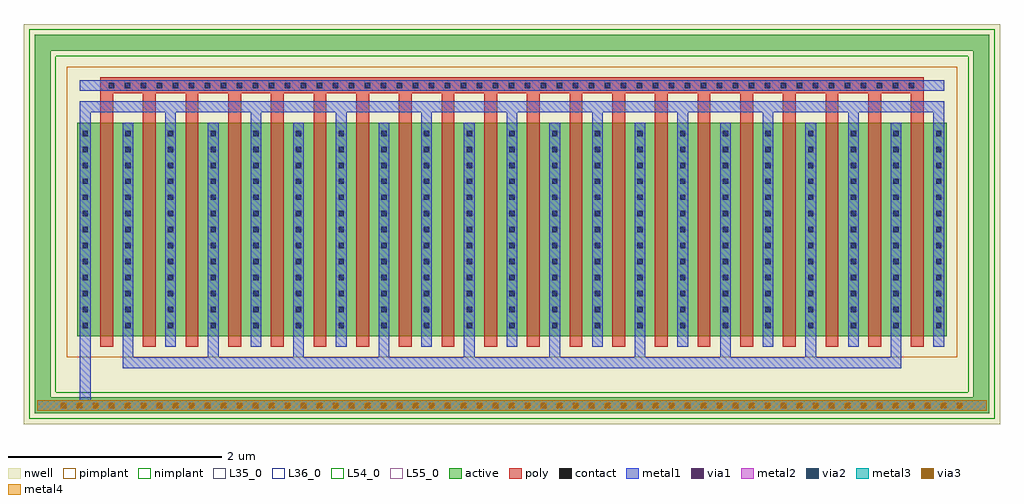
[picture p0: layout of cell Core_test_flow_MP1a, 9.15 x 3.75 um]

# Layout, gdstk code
import gdstk
lib = gdstk.Library(unit=1e-6, precision=1e-09)
def R(c, l, rs):  # rectangles x0, y0, x1, y1
    for r in rs: c.add(gdstk.rectangle(r[:2], r[2:], *l))
def A(c, l, x, y, w, h, nx, ny, dx, dy):  # array of equal rectangles
    R(c, l, [(x+i*dx, y+j*dy, x+i*dx+w, y+j*dy+h) for i in range(nx) for j in range(ny)])
nwell = (3, 0)
active = (6, 0)
poly = (17, 0)
pimplant = (25, 0)
nimplant = (26, 0)
contact = (30, 0)
metal1 = (31, 0)
metal2 = (32, 0)
metal3 = (33, 0)
metal4 = (34, 0)
L35_0 = (35, 0)
L36_0 = (36, 0)
via1 = (51, 0)
via2 = (52, 0)
via3 = (53, 0)
L54_0 = (54, 0)
L55_0 = (55, 0)

core_test_flow_mp1a = lib.new_cell('Core_test_flow_MP1a')
R(core_test_flow_mp1a, nwell, [(-0.575,-0.775,8.575,2.975), (-0.125,-0.1,8.125,2.2)])
R(core_test_flow_mp1a, active, [(-0.475,-0.675,-0.325,-0.525), (-0.325,-0.675,8.325,-0.525), (8.325,-0.675,8.475,-0.525), (-0.475,-0.525,-0.325,2.725), (8.325,-0.525,8.475,2.725), (-0.075,0.05,8.075,2.05), (-0.475,2.725,-0.325,2.875), (-0.325,2.725,8.325,2.875), (8.325,2.725,8.475,2.875)])
A(core_test_flow_mp1a, poly, 0.14, -0.05, 0.12, 2.2, 20, 1, 0.4, 0)
A(core_test_flow_mp1a, poly, 0.14, 2.05, 0.12, 0.3, 20, 1, 0.4, 0)
R(core_test_flow_mp1a, poly, [(0.14,2.325,7.86,2.475)])
R(core_test_flow_mp1a, pimplant, [(-0.175,-0.15,8.175,2.575)])
R(core_test_flow_mp1a, nimplant, [(-0.525,-0.725,-0.275,-0.475), (-0.325,-0.725,8.325,-0.475), (8.275,-0.725,8.525,-0.475), (-0.525,-0.525,-0.275,2.725), (8.275,-0.525,8.525,2.725), (-0.525,2.675,-0.275,2.925), (-0.325,2.675,8.325,2.925), (8.275,2.675,8.525,2.925)])
A(core_test_flow_mp1a, contact, -0.23, -0.625, 0.05, 0.05, 57, 1, 0.15, 0)
A(core_test_flow_mp1a, contact, -0.025, 0.125, 0.05, 0.05, 21, 13, 0.4, 0.15)
A(core_test_flow_mp1a, contact, 0.22, 2.375, 0.05, 0.05, 51, 1, 0.15, 0)
A(core_test_flow_mp1a, metal1, 0.35, -0.15, 0.1, 0.1, 10, 1, 0.8, 0)
A(core_test_flow_mp1a, metal1, -0.05, -0.05, 0.1, 2.1, 21, 1, 0.4, 0)
A(core_test_flow_mp1a, metal1, -0.05, 0.05, 0.1, 2, 21, 1, 0.4, 0)
A(core_test_flow_mp1a, metal1, -0.05, 2.05, 0.1, 0.1, 11, 1, 0.8, 0)
R(core_test_flow_mp1a, metal1, [(-0.45,-0.65,-0.35,-0.55), (-0.35,-0.65,-0.325,-0.55), (-0.325,-0.65,8.325,-0.55), (-0.05,-0.65,0.05,2.15), (8.325,-0.65,8.35,-0.55), (8.35,-0.65,8.45,-0.55), (0.35,-0.25,7.65,-0.15), (-0.05,2.15,8.05,2.25), (-0.05,2.35,8.05,2.45), (0.14,2.35,7.86,2.45)])
R(core_test_flow_mp1a, metal2, [(-0.45,-0.65,-0.35,-0.55), (-0.35,-0.65,-0.325,-0.55), (-0.325,-0.65,8.325,-0.55), (8.325,-0.65,8.35,-0.55), (8.35,-0.65,8.45,-0.55)])
R(core_test_flow_mp1a, metal3, [(-0.45,-0.65,-0.35,-0.55), (-0.35,-0.65,-0.325,-0.55), (-0.325,-0.65,8.325,-0.55), (8.325,-0.65,8.35,-0.55), (8.35,-0.65,8.45,-0.55)])
R(core_test_flow_mp1a, metal4, [(-0.45,-0.65,-0.35,-0.55), (-0.35,-0.65,-0.325,-0.55), (-0.325,-0.65,8.325,-0.55), (8.325,-0.65,8.35,-0.55), (8.35,-0.65,8.45,-0.55)])
R(core_test_flow_mp1a, L35_0, [(-0.45,-0.65,-0.35,-0.55), (-0.35,-0.65,-0.325,-0.55), (-0.325,-0.65,8.325,-0.55), (8.325,-0.65,8.35,-0.55), (8.35,-0.65,8.45,-0.55)])
R(core_test_flow_mp1a, L36_0, [(-0.45,-0.65,-0.35,-0.55), (-0.35,-0.65,-0.325,-0.55), (-0.325,-0.65,8.325,-0.55), (8.325,-0.65,8.35,-0.55), (8.35,-0.65,8.45,-0.55)])
A(core_test_flow_mp1a, via1, -0.23, -0.625, 0.05, 0.05, 57, 1, 0.15, 0)
A(core_test_flow_mp1a, via2, -0.23, -0.625, 0.05, 0.05, 57, 1, 0.15, 0)
A(core_test_flow_mp1a, via3, -0.23, -0.625, 0.05, 0.05, 57, 1, 0.15, 0)
A(core_test_flow_mp1a, L54_0, -0.23, -0.625, 0.05, 0.05, 57, 1, 0.15, 0)
A(core_test_flow_mp1a, L55_0, -0.23, -0.625, 0.05, 0.05, 57, 1, 0.15, 0)

lib.write_gds('Core_test_flow_MP1a.gds')
